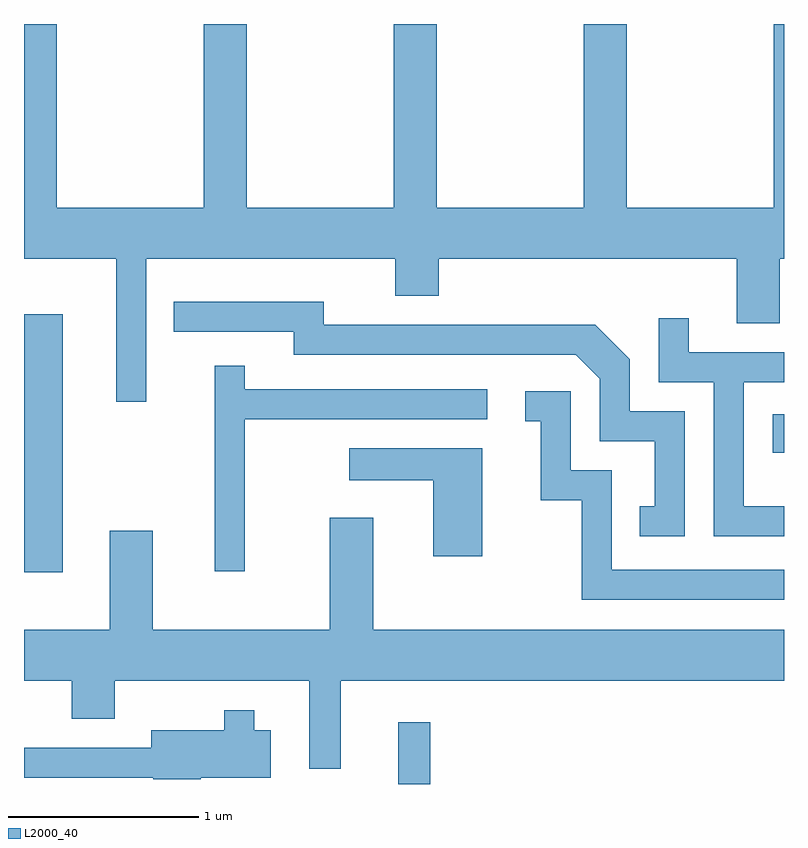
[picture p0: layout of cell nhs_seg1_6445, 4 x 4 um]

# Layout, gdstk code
import gdstk
lib = gdstk.Library(unit=1e-6, precision=1e-09)
def R(c, l, rs):  # rectangles x0, y0, x1, y1
    for r in rs: c.add(gdstk.rectangle(r[:2], r[2:], *l))
def P(c, l, *ps):  # polygons
    for p in ps: c.add(gdstk.Polygon(p, *l))
L2000_40 = (2000, 40)

nhs_seg1_6445 = lib.new_cell('nhs_seg1_6445')
R(nhs_seg1_6445, L2000_40, [(381.581,885.712,381.749,886.038), (379.611,886.826,379.814,888.184), (383.551,887.456,383.611,887.659)])
P(nhs_seg1_6445, L2000_40, [(380.254,888.476),(381.566,888.476),(381.566,888.281),(381.794,888.281),(381.794,888.476),(383.361,888.476),(383.361,888.136),(383.589,888.136),(383.589,888.476),(383.611,888.476),(383.611,889.712),(383.556,889.712),(383.556,888.744),(382.784,888.744),(382.784,889.712),(382.556,889.712),(382.556,888.744),(381.784,888.744),(381.784,889.712),(381.556,889.712),(381.556,888.744),(380.784,888.744),(380.784,889.712),(380.556,889.712),(380.556,888.744),(379.784,888.744),(379.784,889.712),(379.611,889.712),(379.611,888.476),(380.096,888.476),(380.096,887.723),(380.254,887.723)],
  [(383.089,887.674),(382.799,887.674),(382.799,887.947),(382.617,888.129),(381.189,888.129),(381.189,888.249),(380.398,888.249),(380.398,888.091),(381.031,888.091),(381.031,887.971),(382.514,887.971),(382.641,887.844),(382.641,887.516),(382.931,887.516),(382.931,887.174),(382.853,887.174),(382.853,887.016),(383.089,887.016)],
  [(383.611,887.174),(383.399,887.174),(383.399,887.826),(383.611,887.826),(383.611,887.984),(383.109,887.984),(383.109,888.163),(382.951,888.163),(382.951,887.826),(383.241,887.826),(383.241,887.016),(383.611,887.016)],
  [(380.774,887.631),(382.048,887.631),(382.048,887.789),(380.774,887.789),(380.774,887.913),(380.616,887.913),(380.616,886.833),(380.774,886.833)],
  [(383.611,886.839),(382.704,886.839),(382.704,887.364),(382.489,887.364),(382.489,887.779),(382.248,887.779),(382.248,887.621),(382.331,887.621),(382.331,887.206),(382.546,887.206),(382.546,886.681),(383.611,886.681)],
  [(382.024,887.479),(381.323,887.479),(381.323,887.311),(381.766,887.311),(381.766,886.911),(382.024,886.911)],
  [(381.279,886.256),(383.611,886.256),(383.611,886.524),(381.449,886.524),(381.449,887.114),(381.221,887.114),(381.221,886.524),(380.289,886.524),(380.289,887.044),(380.061,887.044),(380.061,886.524),(379.611,886.524),(379.611,886.256),(379.861,886.256),(379.861,886.056),(380.089,886.056),(380.089,886.256),(381.111,886.256),(381.111,885.793),(381.279,885.793)],
  [(380.54,885.746),(380.909,885.746),(380.909,885.994),(380.824,885.994),(380.824,886.099),(380.666,886.099),(380.666,885.994),(380.281,885.994),(380.281,885.904),(379.611,885.904),(379.611,885.746),(380.29,885.746),(380.29,885.736),(380.54,885.736)])

lib.write_gds('nhs_seg1_6445.gds')
